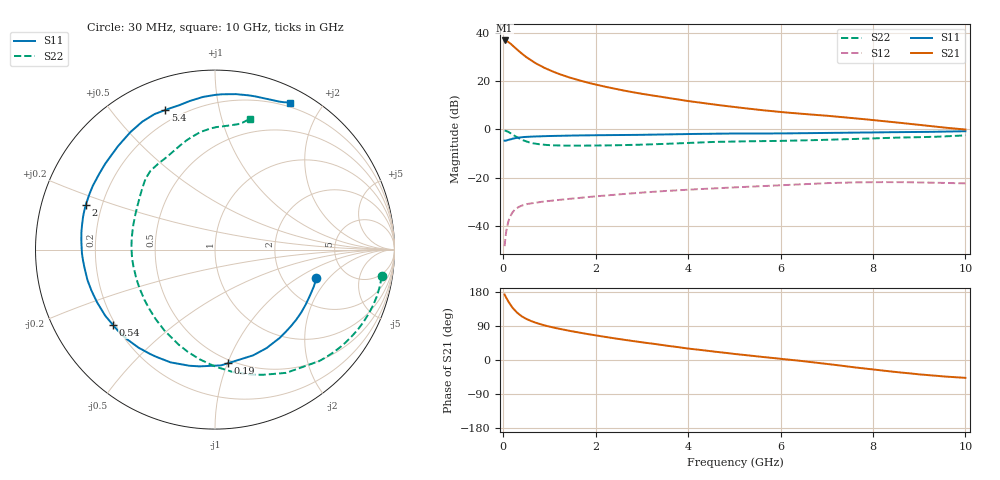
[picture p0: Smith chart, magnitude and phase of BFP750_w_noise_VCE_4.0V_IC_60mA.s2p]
! Infineon Technologies  Discrete & RF Semiconductors
! BFP750
! VCE =  4.0 V,  IC =  60 mA
! Common Emitter S-Parameters:  Jan 2016
# GHz  S  MA  R  50
!  f  S11  S21  S12  S22
! GHz  MAG  ANG  MAG  ANG  MAG  ANG  MAG  ANG
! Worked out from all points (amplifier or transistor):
!   229 points, 30 MHz to 10 GHz, reference 50 ohm
!   highest |S21| = 36.8 dB at 30 MHz (marker M1)
!   |S21| within 3 dB of that: start of sweep to 257.7 MHz
!   unconditionally stable (mu >= 1): 3.785 GHz to end of sweep
!   at 280 MHz: K = 0.20, MSG = 33.0 dB, |S12| = -32.7 dB
!   at 1.78 GHz: K = 0.73, MSG = 23.8 dB, |S12| = -28.0 dB
!   at 10 GHz: K = 1.04, MAG = 9.9 dB, |S12| = -22.2 dB
!   lowest NFmin = 1.14 dB at 450 MHz
!   S11 on the Smith chart (normalised r, x): 30 MHz: 3.06, -1.48; 190 MHz: 0.47, -1.00; 540 MHz: 0.19, -0.32; 2 GHz: 0.14, +0.16; 5.4 GHz: 0.14, +0.70; 10 GHz: 0.15, +1.62
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0.03  0.5871 -15.7  68.91 172.7  0.0039 73.1  0.9414 -9.1
0.06  0.5907 -31.0  68 165.6  0.0073 71.6  0.9342 -19.4
0.11  0.61 -53.9  63.98 154.6  0.0125 64.7  0.8929 -35.4
0.15  0.6263 -70.2  60.09 146.7  0.0159 59.3  0.8499 -47.0
0.19  0.6377 -83.7  55.62 140.0  0.0187 54.0  0.8009 -57.3
0.26  0.6626 -102.4  48.56 130.0  0.0225 46.9  0.728 -73.2
0.3  0.6753 -111.5  44.82 124.9  0.024 43.5  0.6914 -81.3
0.34  0.681 -118.6  41.43 121.0  0.0253 40.7  0.6576 -88.3
0.4  0.6928 -128.0  37.04 115.4  0.0268 37.3  0.6173 -97.9
0.45  0.6998 -134.5  33.91 111.7  0.0278 35.2  0.5897 -104.8
0.54  0.7065 -143.6  29.39 106.4  0.0291 32.4  0.5505 -115.2
0.7  0.7198 -156.0  23.39 98.4  0.0309 29.2  0.5091 -130.5
0.9  0.7306 -166.6  18.58 91.1  0.0327 27.2  0.4827 -144.4
1.2  0.7415 -178.3  14.1 82.6  0.0351 26.0  0.4675 -159.2
1.7  0.7553 167.9  10.01 71.2  0.0391 25.0  0.4643 -175.8
2  0.7618 161.0  8.468 65.0  0.0416 24.3  0.4662 176.5
3.4  0.7859 134.9  4.732 40.2  0.0529 18.8  0.5007 148.7
5.1  0.8259 113.0  2.84 14.8  0.0644 9.5  0.5679 128.2
5.4  0.8256 109.6  2.632 10.8  0.0664 7.6  0.5717 124.7
6.8  0.847 96.5  1.988 -7.3  0.0765 -2.0  0.6056 110.0
8.4  0.8798 77.6  1.433 -30.4  0.0819 -17.3  0.6755 92.1
10  0.9205 62.9  0.998 -47.1  0.0772 -28.9  0.7557 75.0
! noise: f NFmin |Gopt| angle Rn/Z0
0.45  1.14  0.21  -168  0.44
0.9  1.16  0.29  -162  0.19
1.5  1.18  0.38  -155  0.09
1.9  1.19  0.41  -150  0.08
2.4  1.2  0.42  -142  0.09
3.5  1.43  0.42  -127  0.12
